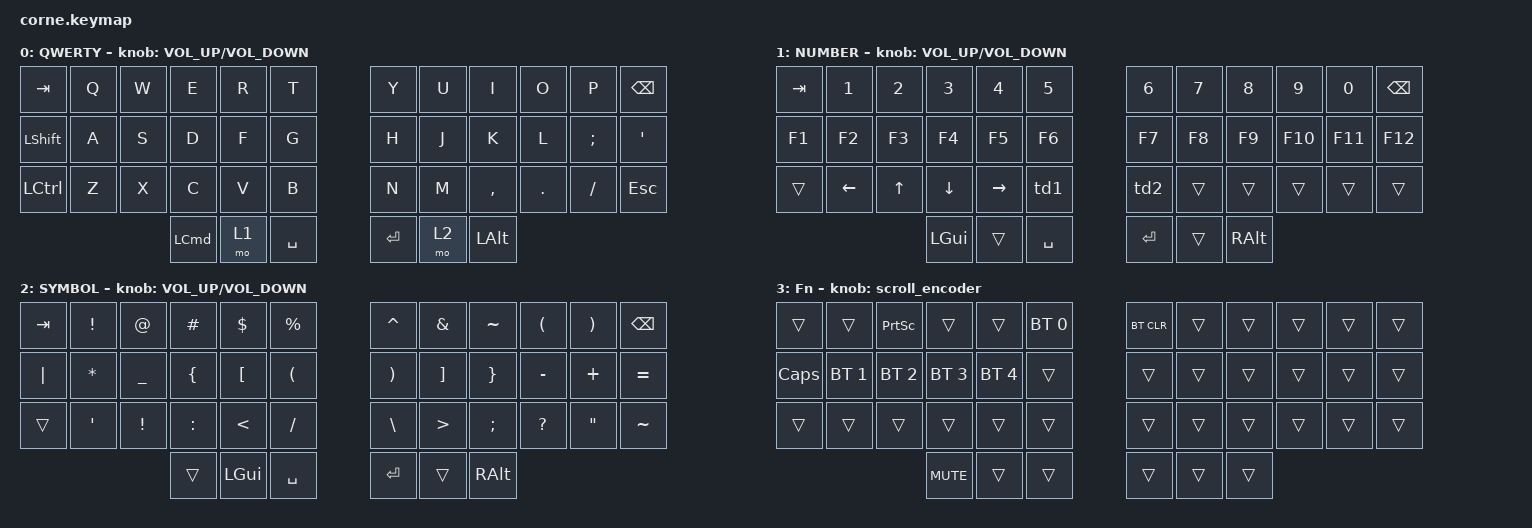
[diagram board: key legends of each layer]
#include <behaviors.dtsi>
#include <dt-bindings/zmk/bt.h>
#include <dt-bindings/zmk/keys.h>

/ {
    behaviors {
        td0: td0 {
            compatible = "zmk,behavior-tap-dance";
            label = "TD0";
            #binding-cells = <0>;
            bindings = <&kp LEFT_SHIFT>, <&kp CAPS>;
        };

        td1: td1 {
            compatible = "zmk,behavior-tap-dance";
            label = "TD1";
            #binding-cells = <0>;
            bindings = <&kp PG_UP>, <&kp HOME>;
        };

        td2: td2 {
            compatible = "zmk,behavior-tap-dance";
            label = "TD2";
            #binding-cells = <0>;
            bindings = <&kp PG_DN>, <&kp END>;
        };
    };

    scroll_encoder: scroll_encoder {
        compatible = "zmk,behavior-sensor-rotate";
        #sensor-binding-cells = <0>;
        bindings = <&kp C_VOLUME_UP>, <&kp C_VOLUME_DOWN>;
        tap-ms = <30>;
    };

    combos {
        compatible = "zmk,combos";
        combo_fn {
            timeout-ms = <100>;
            key-positions = <38 39>;
            bindings = <&mo 3>;
            layers = <0>;
        };
    };

    keymap {
        compatible = "zmk,keymap";

        default_layer {
            display-name = "QWERTY";
            bindings = <
// ╭─────────────┬──────┬──────┬──────────────────┬──────┬──────╮   ╭──────────────┬──────┬───────────┬───────┬──────────┬──────────╮
    &kp TAB        &kp Q  &kp W  &kp E              &kp R  &kp T      &kp Y          &kp U  &kp I       &kp O   &kp P      &kp BSPC
// ├─────────────┼──────┼──────┼──────────────────┼──────┼──────┤   ├──────────────┼──────┼───────────┼───────┼──────────┼──────────┤
    &kp LEFT_SHIFT &kp A  &kp S  &kp D              &kp F  &kp G      &kp H          &kp J  &kp K       &kp L   &kp SEMI   &kp SQT
// ├─────────────┼──────┼──────┼──────────────────┼──────┼──────┤   ├──────────────┼──────┼───────────┼───────┼──────────┼──────────┤
    &kp LCTRL      &kp Z  &kp X  &kp C              &kp V  &kp B      &kp N          &kp M  &kp COMMA   &kp DOT &kp FSLH   &kp ESC
// ╰─────────────┴──────┴──────┼──────────────────┼──────┼──────┤   ├──────────────┼──────┼───────────┼───────┴──────────┴──────────╯
                                &kp LEFT_COMMAND   &mo 1  &kp SPACE  &kp ENTER      &mo 2  &kp LALT
//                             ╰──────────────────┴──────┴──────╯   ╰──────────────┴──────┴───────────╯
            >;
            sensor-bindings = <&inc_dec_kp C_VOLUME_UP C_VOLUME_DOWN>;
        };

        lower_layer {
            display-name = "NUMBER";
            bindings = <
// ╭─────────┬──────────────┬──────────────┬──────────────┬──────────────┬──────────────╮   ╭──────────────┬──────────────┬──────────────┬──────────────┬──────────────┬──────────╮
    &kp TAB   &kp NUMBER_1   &kp NUMBER_2   &kp NUMBER_3   &kp NUMBER_4   &kp NUMBER_5       &kp NUMBER_6   &kp NUMBER_7   &kp NUMBER_8   &kp NUMBER_9   &kp NUMBER_0   &kp BSPC
// ├─────────┼──────────────┼──────────────┼──────────────┼──────────────┼──────────────┤   ├──────────────┼──────────────┼──────────────┼──────────────┼──────────────┼──────────┤
    &kp F1    &kp F2         &kp F3         &kp F4         &kp F5         &kp F6             &kp F7         &kp F8         &kp F9         &kp F10        &kp F11        &kp F12
// ├─────────┼──────────────┼──────────────┼──────────────┼──────────────┼──────────────┤   ├──────────────┼──────────────┼──────────────┼──────────────┼──────────────┼──────────┤
    &trans    &kp LEFT       &kp UP         &kp DOWN       &kp RIGHT      &td1               &td2           &trans         &trans         &trans         &trans         &trans
// ╰─────────┴──────────────┴──────────────┼──────────────┼──────────────┼──────────────┤   ├──────────────┼──────────────┼──────────────┼──────────────┴──────────────┴──────────╯
                                            &kp LEFT_GUI   &trans         &kp SPACE          &kp ENTER      &trans         &kp RALT
//                                         ╰──────────────┴──────────────┴──────────────╯   ╰──────────────┴──────────────┴──────────────╯
            >;
            sensor-bindings = <&inc_dec_kp C_VOLUME_UP C_VOLUME_DOWN>;
        };

        raise_layer {
            display-name = "SYMBOL";
            bindings = <
// ╭──────────┬──────────────────┬──────────┬──────────┬──────────────────┬──────────────╮   ╭───────────────┬──────────────────┬─────────┬──────────┬──────────────┬──────────╮
    &kp TAB    &kp EXCL           &kp AT     &kp HASH   &kp DLLR           &kp PRCNT          &kp CARET       &kp AMPS           &kp TILDE &kp LPAR   &kp RPAR       &kp BSPC
// ├──────────┼──────────────────┼──────────┼──────────┼──────────────────┼──────────────┤   ├───────────────┼──────────────────┼─────────┼──────────┼──────────────┼──────────┤
    &kp PIPE   &kp ASTERISK       &kp UNDER  &kp LBRC   &kp LBKT           &kp LPAR           &kp RPAR        &kp RBKT           &kp RBRC  &kp MINUS  &kp PLUS       &kp EQUAL
// ├──────────┼──────────────────┼──────────┼──────────┼──────────────────┼──────────────┤   ├───────────────┼──────────────────┼─────────┼──────────┼──────────────┼──────────┤
    &trans     &kp SQT            &kp EXCL   &kp COLON  &kp LT             &kp FSLH           &kp BSLH        &kp GT             &kp SEMI  &kp QMARK  &kp DQT        &kp TILDE
// ╰──────────┴──────────────────┴──────────┼──────────┼──────────────────┼──────────────┤   ├───────────────┼──────────────────┼─────────┼──────────┴──────────────┴──────────╯
                                             &trans     &kp LEFT_GUI       &kp SPACE          &kp RET         &trans             &kp RALT
//                                          ╰──────────┴──────────────────┴──────────────╯   ╰───────────────┴──────────────────┴─────────╯
            >;
            sensor-bindings = <&inc_dec_kp C_VOLUME_UP C_VOLUME_DOWN>;
        };

        layer_3 {
            display-name = "Fn";
            bindings = <
// ╭────────┬──────────────┬─────────────────┬──────────────┬──────────────┬──────────────╮   ╭────────────┬────────────┬────────────┬────────────┬────────────┬────────────╮
    &trans   &trans         &kp PRINTSCREEN   &trans         &trans         &bt BT_SEL 0       &bt BT_CLR   &trans       &trans       &trans       &trans       &trans
// ├────────┼──────────────┼─────────────────┼──────────────┼──────────────┼──────────────┤   ├────────────┼────────────┼────────────┼────────────┼────────────┼────────────┤
    &kp CLCK &bt BT_SEL 1   &bt BT_SEL 2     &bt BT_SEL 3   &bt BT_SEL 4   &trans             &trans       &trans       &trans       &trans       &trans       &trans
// ├────────┼──────────────┼─────────────────┼──────────────┼──────────────┼──────────────┤   ├────────────┼────────────┼────────────┼────────────┼────────────┼────────────┤
    &trans   &trans         &trans            &trans         &trans         &trans             &trans       &trans       &trans       &trans       &trans       &trans
// ╰────────┴──────────────┴─────────────────┼──────────────┼──────────────┼──────────────┤   ├────────────┼────────────┼────────────┼────────────┴────────────┴────────────╯
                                              &kp C_MUTE     &trans         &trans             &trans       &trans       &trans
//                                           ╰──────────────┴──────────────┴──────────────╯   ╰────────────┴────────────┴────────────╯
            >;
            sensor-bindings = <&scroll_encoder>;
        };
    };
};
